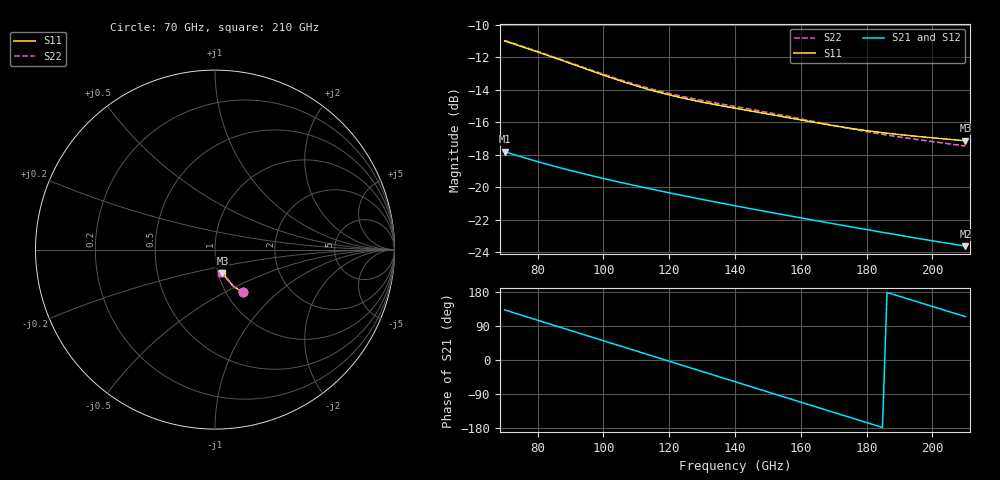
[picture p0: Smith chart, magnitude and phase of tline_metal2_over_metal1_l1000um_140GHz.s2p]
#  GHZ S DB R 50
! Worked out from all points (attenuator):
!   101 points, 70 GHz to 210 GHz, reference 50 ohm
!   highest |S21| = -17.82 dB at 70 GHz (marker M1); lowest = -23.6 dB at 210 GHz (marker M2)
!   lowest |S11| = -17.2 dB at 210 GHz (marker M3), VSWR 1.32, Z = 52.3 - j14.2 ohm
!   |S11| at or under -10 dB: start of sweep to end of sweep
!   |S22| runs from -17.5 to -11.0 dB; largest |S21 - S12| = 8.3e-14
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70  -11.00 -56.4  -17.82 132.3  -17.82 132.3  -10.98 -56.5
75.6  -11.38 -58.0  -18.17 117.0  -18.17 117.0  -11.35 -58.1
81.2  -11.77 -59.6  -18.50 101.8  -18.50 101.8  -11.74 -59.7
86.8  -12.16 -61.0  -18.80 86.7  -18.80 86.7  -12.13 -61.2
93.8  -12.67 -62.7  -19.16 67.7  -19.16 67.7  -12.62 -62.9
100.8  -13.16 -63.9  -19.50 48.8  -19.50 48.8  -13.11 -64.2
106.4  -13.54 -64.6  -19.76 33.6  -19.76 33.6  -13.48 -65.0
112  -13.89 -65.1  -20.01 18.5  -20.01 18.5  -13.82 -65.6
117.6  -14.20 -65.5  -20.25 3.3  -20.25 3.3  -14.12 -66.0
127.4  -14.66 -66.1  -20.65 -23.2  -20.65 -23.2  -14.57 -66.8
134.4  -14.94 -66.6  -20.93 -42.1  -20.93 -42.1  -14.84 -67.6
140  -15.15 -67.1  -21.14 -57.3  -21.14 -57.3  -15.04 -68.3
145.6  -15.35 -67.7  -21.36 -72.4  -21.36 -72.4  -15.25 -69.0
151.2  -15.55 -68.3  -21.57 -87.5  -21.57 -87.5  -15.46 -69.9
156.8  -15.75 -68.8  -21.77 -102.6  -21.77 -102.6  -15.67 -70.7
163.8  -16.00 -69.5  -22.03 -121.5  -22.03 -121.5  -15.96 -71.6
170.8  -16.25 -70.0  -22.28 -140.4  -22.28 -140.4  -16.24 -72.4
176.4  -16.42 -70.3  -22.48 -155.5  -22.48 -155.5  -16.45 -72.9
182  -16.58 -70.6  -22.68 -170.5  -22.68 -170.5  -16.66 -73.3
187.6  -16.71 -70.9  -22.87 174.5  -22.87 174.5  -16.84 -73.7
197.4  -16.92 -71.5  -23.21 148.2  -23.21 148.2  -17.13 -74.5
210  -17.15 -72.7  -23.63 114.4  -23.63 114.4  -17.47 -75.7
